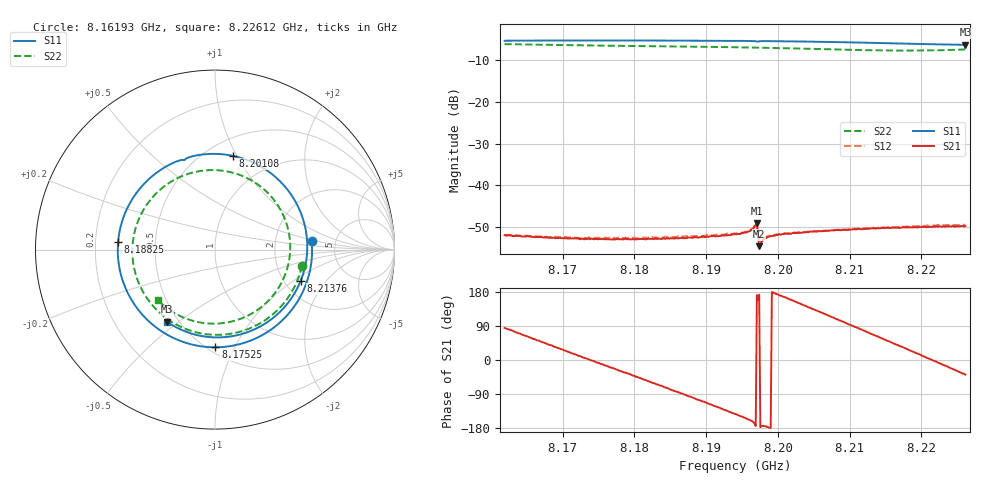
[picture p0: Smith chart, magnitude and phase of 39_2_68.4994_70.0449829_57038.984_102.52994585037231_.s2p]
#  HZ  S  RI  R  50.00
! Rohde & Schwarz Vector Network Analyzer
! Rohde-Schwarz,ZNB20-2Port,1311601062101988,3.16
! Created: UTC 3/20/2024, 5:05:24 PM
! freq[Hz]  re:S11  im:S11  re:S21  im:S21  re:S12  im:S12  re:S22  im:S22
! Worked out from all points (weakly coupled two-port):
!   401 points, 8.16193 GHz to 8.22612 GHz, reference 50 ohm
!   highest |S21| = -49.17 dB at 8.19707 GHz (marker M1); lowest = -54.6 dB at 8.19739 GHz (marker M2)
!   lowest |S11| = -6.3 dB at 8.22612 GHz (marker M3), VSWR 2.87, Z = 21.7 - j22.7 ohm
!   |S11| at or under -10 dB: nowhere
!   |S22| runs from -7.7 to -6.2 dB; largest |S21 - S12| = 0.00022
!   S11 on the Smith chart (normalised r, x): 8.16193 GHz: 3.28, +0.47; 8.17525 GHz: 0.54, -0.84; 8.18825 GHz: 0.30, +0.04; 8.20108 GHz: 0.66, +0.96; 8.21376 GHz: 2.44, -1.15; 8.22612 GHz: 0.43, -0.45
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8.16193e9  0.5379 0.0503  0.000237 0.00251  0.000188 0.00253  0.484 -0.0891
8.166904e9  0.4701 -0.2721  0.00157 0.0018  0.00158 0.00185  0.3417 -0.3431
8.172681e9  0.1744 -0.5157  0.00227 0.000327  0.00233 0.000358  0.0404 -0.4741
8.175249e9  0.00224 -0.5445  0.00222 -0.000391  0.00228 -0.00038  -0.1052 -0.4607
8.1791e9  -0.2525 -0.4818  0.00184 -0.00131  0.00187 -0.00138  -0.2973 -0.3617
8.183433e9  -0.4667 -0.2775  0.000918 -0.00209  0.00091 -0.00218  -0.4335 -0.1641
8.188247e9  -0.5397 0.0447  -0.000414 -0.00234  -0.000494 -0.00238  -0.4477 0.0996
8.190974e9  -0.4898 0.2282  -0.00123 -0.00212  -0.00131 -0.00212  -0.3881 0.2385
8.194023e9  -0.3623 0.3984  -0.00204 -0.00158  -0.00213 -0.00155  -0.2713 0.361
8.196751e9  -0.1958 0.4974  -0.00313 -0.000702  -0.00317 -0.00058  -0.1338 0.4267
8.197072e9  -0.1726 0.4986  -0.00344 0.000523  -0.00346 0.000646  -0.1163 0.4311
8.197393e9  -0.161 0.5072  -0.00184 0.000247  -0.00188 0.000351  -0.0988 0.435
8.197714e9  -0.1381 0.5164  -0.00207 -0.000192  -0.00212 -0.000104  -0.0809 0.4382
8.198677e9  -0.0699 0.5299  -0.00241 -9.33e-05  -0.00244 2.59e-05  -0.0267 0.4431
8.201084e9  0.0996 0.5222  -0.00253 0.000675  -0.00251 0.000819  0.1089 0.4256
8.204775e9  0.332 0.4087  -0.00194 0.00196  -0.00193 0.00204  0.2908 0.319
8.209428e9  0.5012 0.1305  -0.000408 0.00289  -0.00032 0.0029  0.4144 0.0774
8.213761e9  0.4773 -0.1745  0.00137 0.00271  0.00145 0.00271  0.3722 -0.1812
8.215526e9  0.4156 -0.2853  0.00201 0.00231  0.00212 0.00229  0.309 -0.2725
8.218414e9  0.261 -0.4232  0.00283 0.00131  0.00292 0.00123  0.1583 -0.3793
8.220982e9  0.0864 -0.4839  0.00315 0.000218  0.00324 0.000104  -0.00676 -0.4126
8.226117e9  -0.2675 -0.4019  0.00253 -0.00201  0.0025 -0.00221  -0.3196 -0.2798
